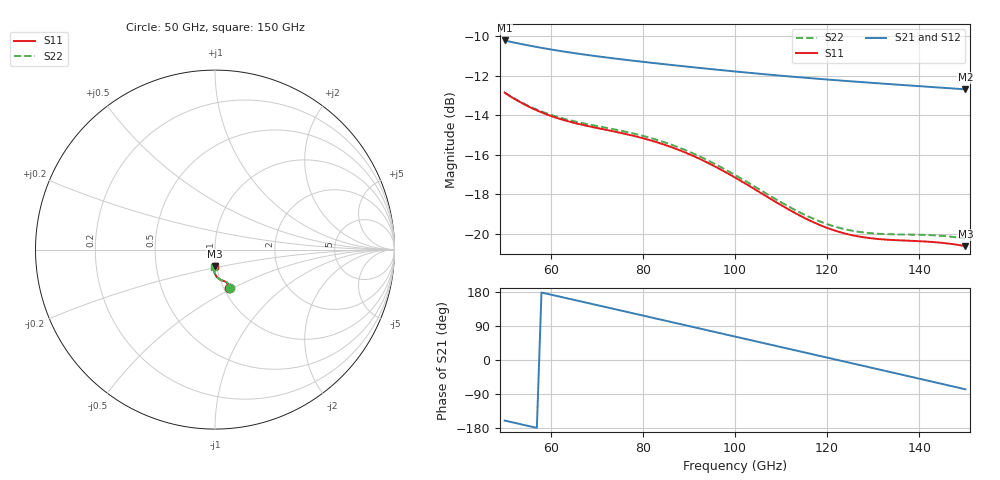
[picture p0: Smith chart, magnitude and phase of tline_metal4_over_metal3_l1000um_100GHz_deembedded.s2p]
! Created with skrf 2.0.1 (http://scikit-rf.org).
# GHz S DB R 50.0
!freq dBS11 angS11 dBS21 angS21 dBS12 angS12 dBS22 angS22
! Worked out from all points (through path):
!   101 points, 50 GHz to 150 GHz, reference 50 ohm
!   highest |S21| = -10.22 dB at 50 GHz (marker M1); lowest = -12.7 dB at 150 GHz (marker M2)
!   group delay of S21, straight-line fit = 7.71 ps
!   lowest |S11| = -20.6 dB at 150 GHz (marker M3), VSWR 1.21, Z = 49.1 - j9.21 ohm
!   |S11| at or under -10 dB: start of sweep to end of sweep
!   |S22| runs from -20.3 to -12.9 dB; largest |S21 - S12| = 2.9e-13
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50  -12.86 -69.5  -10.22 -159.8  -10.22 -159.8  -12.86 -68.4
54  -13.42 -70.0  -10.42 -170.9  -10.42 -170.9  -13.40 -68.8
58  -13.86 -70.3  -10.59 178.1  -10.59 178.1  -13.82 -69.1
62  -14.19 -70.8  -10.75 167.1  -10.75 167.1  -14.13 -69.6
67  -14.50 -71.8  -10.92 153.3  -10.92 153.3  -14.41 -70.7
72  -14.74 -73.6  -11.08 139.5  -11.08 139.5  -14.64 -72.5
76  -14.94 -75.5  -11.19 128.5  -11.19 128.5  -14.83 -74.5
80  -15.17 -77.7  -11.30 117.4  -11.30 117.4  -15.05 -76.8
84  -15.44 -80.2  -11.41 106.3  -11.41 106.3  -15.32 -79.4
88  -15.78 -82.8  -11.51 95.1  -11.51 95.1  -15.65 -82.0
92  -16.18 -85.3  -11.60 84.0  -11.60 84.0  -16.05 -84.6
96  -16.64 -87.6  -11.70 72.9  -11.70 72.9  -16.51 -86.9
100  -17.16 -89.5  -11.79 61.8  -11.79 61.8  -17.03 -88.9
109  -18.41 -91.7  -11.98 36.8  -11.98 36.8  -18.27 -91.2
113  -18.95 -91.7  -12.06 25.7  -12.06 25.7  -18.79 -91.2
117  -19.42 -91.1  -12.14 14.6  -12.14 14.6  -19.24 -90.6
121  -19.79 -90.1  -12.22 3.5  -12.22 3.5  -19.59 -89.7
125  -20.05 -88.9  -12.29 -7.6  -12.29 -7.6  -19.83 -88.7
129  -20.22 -88.0  -12.35 -18.7  -12.35 -18.7  -19.96 -88.0
134  -20.32 -87.4  -12.44 -32.6  -12.44 -32.6  -20.03 -87.7
142  -20.41 -88.1  -12.57 -54.9  -12.57 -54.9  -20.07 -89.1
150  -20.63 -90.5  -12.69 -77.3  -12.69 -77.3  -20.25 -92.4
